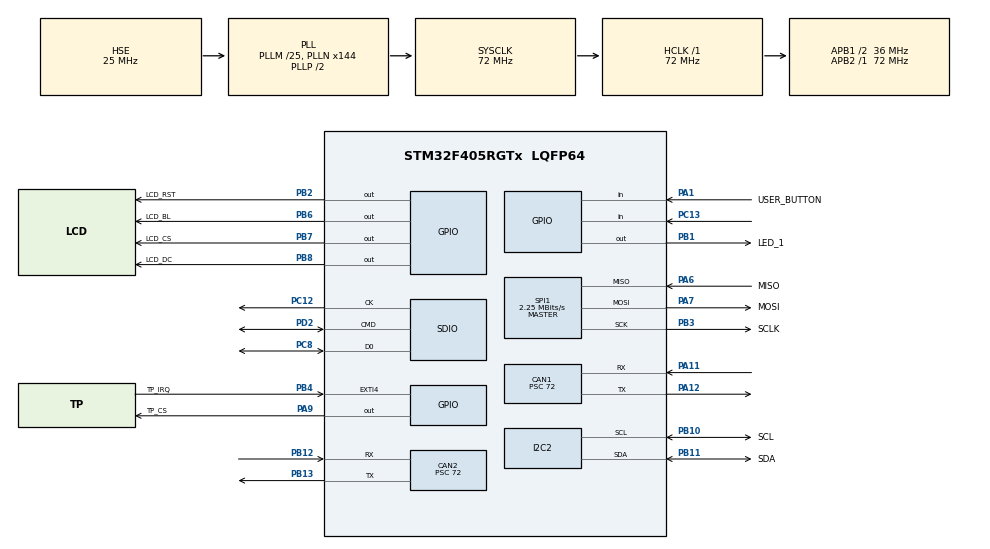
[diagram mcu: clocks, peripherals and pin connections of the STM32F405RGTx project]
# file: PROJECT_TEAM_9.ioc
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ADC1.Channel-0\#ChannelRegularConversion=ADC_CHANNEL_TEMPSENSOR
ADC1.NbrOfConversionFlag=1
ADC1.Rank-0\#ChannelRegularConversion=1
ADC1.SamplingTime-0\#ChannelRegularConversion=ADC_SAMPLETIME_3CYCLES
ADC1.master=1
CAN1.BS1=CAN_BS1_2TQ
CAN1.CalculateBaudRate=125000
CAN1.CalculateTimeBit=8000
CAN1.CalculateTimeQuantum=2000.0
CAN1.Prescaler=72
CAN2.BS1=CAN_BS1_2TQ
CAN2.CalculateBaudRate=125000
CAN2.CalculateTimeBit=8000
CAN2.CalculateTimeQuantum=2000.0
CAN2.Prescaler=72
FATFS.BSP.number=1
FATFS._USE_STRFUNC=1
FATFS0.BSP.STBoard=false
FATFS0.BSP.api=Unknown
FATFS0.BSP.instance=PC13-ANTI_TAMP
FATFS0.BSP.ip=GPIO
FATFS0.BSP.mode=Input
FATFS0.BSP.name=Detect_SDIO
FATFS0.BSP.solution=PC13-ANTI_TAMP
Mcu.Family=STM32F4
Mcu.Name=STM32F405RGTx
Mcu.Package=LQFP64
NVIC.CAN1_TX_IRQn=true\:0\:0\:false\:false\:true\:true\:true\:true
NVIC.CAN2_RX0_IRQn=true\:0\:0\:false\:false\:true\:true\:true\:true
NVIC.EXTI4_IRQn=true\:0\:0\:false\:false\:true\:true\:true\:true
NVIC.I2C2_EV_IRQn=true\:0\:0\:false\:false\:true\:true\:true\:true
NVIC.PriorityGroup=NVIC_PRIORITYGROUP_4
NVIC.SDIO_IRQn=true\:0\:0\:false\:false\:true\:true\:true\:true
PA1.GPIO_Label=USER_BUTTON
PA1.GPIO_PuPd=GPIO_PULLUP
PA1.Signal=GPIO_Input
PA11.Mode=CAN_Activate
PA11.Signal=CAN1_RX
PA12.Mode=CAN_Activate
PA12.Signal=CAN1_TX
PA13.Mode=Serial_Wire
PA13.Signal=SYS_JTMS-SWDIO
PA14.Mode=Serial_Wire
PA14.Signal=SYS_JTCK-SWCLK
PA6.GPIO_Label=MISO
PA6.Mode=Full_Duplex_Master
PA6.Signal=SPI1_MISO
PA7.GPIO_Label=MOSI
PA7.Mode=Full_Duplex_Master
PA7.Signal=SPI1_MOSI
PA9.GPIO_Label=TP_CS
PA9.Signal=GPIO_Output
PB1.GPIO_Label=LED_1
PB1.Signal=GPIO_Output
PB10.GPIO_Label=SCL
PB10.GPIO_Pu=GPIO_PULLUP
PB10.Mode=I2C
PB10.Signal=I2C2_SCL
PB11.GPIO_Label=SDA
PB11.Mode=I2C
PB11.Signal=I2C2_SDA
PB12.Mode=CAN_Activate
PB12.Signal=CAN2_RX
PB13.Mode=CAN_Activate
PB13.Signal=CAN2_TX
PB2.GPIO_Label=LCD_RST
PB2.Signal=GPIO_Output
PB3.GPIO_Label=SCLK
PB3.Mode=Full_Duplex_Master
PB3.Signal=SPI1_SCK
PB4.GPIO_Label=TP_IRQ
PB4.GPIO_PuPd=GPIO_PULLUP
PB4.Signal=GPXTI4
PB6.GPIO_Label=LCD_BL
PB6.Signal=GPIO_Output
PB7.GPIO_Label=LCD_CS
PB7.Signal=GPIO_Output
PB8.GPIO_Label=LCD_DC
PB8.Signal=GPIO_Output
PC10.Signal=SDIO_D2
PC11.Signal=SDIO_D3
PC12.Mode=SD_1_bit
PC12.Signal=SDIO_CK
PC13-ANTI_TAMP.Signal=GPIO_Input
PC14-OSC32_IN.Mode=LSE-External-Oscillator
PC14-OSC32_IN.Signal=RCC_OSC32_IN
PC15-OSC32_OUT.Mode=LSE-External-Oscillator
PC15-OSC32_OUT.Signal=RCC_OSC32_OUT
PC8.Mode=SD_1_bit
PC8.Signal=SDIO_D0
PC9.Signal=SDIO_D1
PD2.Mode=SD_1_bit
PD2.Signal=SDIO_CMD
PH0-OSC_IN.Mode=HSE-External-Oscillator
PH0-OSC_IN.Signal=RCC_OSC_IN
PH1-OSC_OUT.Mode=HSE-External-Oscillator
PH1-OSC_OUT.Signal=RCC_OSC_OUT
ProjectManager.HeapSize=0x200
ProjectManager.StackSize=0x400
ProjectManager.TargetToolchain=STM32CubeIDE
RCC.48MHZClocksFreq_Value=36000000
RCC.AHBFreq_Value=72000000
RCC.APB1CLKDivider=RCC_HCLK_DIV2
RCC.APB1Freq_Value=36000000
RCC.APB1TimFreq_Value=72000000
RCC.APB2Freq_Value=72000000
RCC.APB2TimFreq_Value=72000000
RCC.CortexFreq_Value=72000000
RCC.HCLKFreq_Value=72000000
RCC.HSE_VALUE=25000000
RCC.HSI_VALUE=16000000
RCC.PLLM=25
RCC.PLLN=144
RCC.PLLSourceVirtual=RCC_PLLSOURCE_HSE
RCC.SYSCLKFreq_VALUE=72000000
RCC.SYSCLKSource=RCC_SYSCLKSOURCE_PLLCLK
RCC.VCOOutputFreq_Value=144000000
SPI1.BaudRatePrescaler=SPI_BAUDRATEPRESCALER_32
SPI1.CalculateBaudRate=2.25 MBits/s
SPI1.Direction=SPI_DIRECTION_2LINES
SPI1.Mode=SPI_MODE_MASTER
SPI1.VirtualType=VM_MASTER
VP_ADC1_TempSens_Input.Mode=IN-TempSens
VP_FATFS_VS_SDIO.Mode=SDIO
VP_RTC_VS_RTC_Activate.Mode=RTC_Enabled
VP_RTC_VS_RTC_Calendar.Mode=RTC_Calendar
board=custom

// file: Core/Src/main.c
/* USER CODE BEGIN Header */
/**
 ******************************************************************************
 * @file           : main.c
 * @brief          : Main program body
 ******************************************************************************
 * @attention
 *
 * Copyright (c) 2025 STMicroelectronics.
 * All rights reserved.
 *
 * This software is licensed under terms that can be found in the LICENSE file
 * in the root directory of this software component.
 * If no LICENSE file comes with this software, it is provided AS-IS.
 *
 ******************************************************************************
 */
/* USER CODE END Header */
#include "main.h"
#include "fatfs.h"

/* USER CODE BEGIN Includes */
#include "manual_lcd.h" // Include the manual LCD driver
#include "manual_touch.h"
#include <stdio.h>
#include <stdbool.h>
#include <string.h> // Cho hàm strlen() và strcmp()
#include "stm32f4xx_hal.h"
#include "task2.h"
#include "sd_card_manager.h"
#include "rtc_utils.h"
/* USER CODE END Includes */

ADC_HandleTypeDef hadc1;

CAN_HandleTypeDef hcan1;
CAN_HandleTypeDef hcan2;

I2C_HandleTypeDef hi2c2;

RTC_HandleTypeDef hrtc;

SD_HandleTypeDef hsd;

SPI_HandleTypeDef hspi1;

/* USER CODE BEGIN PV */
uint8_t read_data[50], byte_read;
SD_HandleTypeDef hsd;
HAL_SD_CardInfoTypeDef SDCardInfo;

CAN_TxHeaderTypeDef TxHeader1;
CAN_RxHeaderTypeDef RxHeader2;

uint8_t TxData1[2]; // Sẽ chứa [số nhóm (1 byte)] + [nhiệt độ (1 bytes)]
uint8_t RxData2[2];

uint32_t TxMailbox1;

volatile uint8_t can2_received_temperature;
volatile uint8_t can2_received_group;
volatile uint8_t can2_received_data_flag = 0;
int current_task = -1;
GPIO_PinState current_button_state = GPIO_PIN_RESET;
// Global variables for touch interface
TaskBox_t task_boxes[4];
TaskBox_t back_button_box;
int num_tasks;
char info_text_buffer[50];

/* USER CODE END PV */

void SystemClock_Config(void);
static void MX_GPIO_Init(void);
static void MX_SPI1_Init(void);
static void MX_I2C2_Init(void);
static void MX_SDIO_SD_Init(void);
static void MX_ADC1_Init(void);
static void MX_CAN1_Init(void);
static void MX_CAN2_Init(void);
static void MX_RTC_Init(void);

int main(void)
{

  /* USER CODE BEGIN 1 */
  // Task Box Definitions
  uint16_t start_y_tasks_row1 = INFO_BOX_Y + INFO_BOX_H + INFO_TO_TASK_SPACING;
  uint16_t start_y_tasks_row2 = start_y_tasks_row1 + TASK_BOX_H + SPACING_BETWEEN_BOXES;

  // Initialize task boxes (now global)
  // task_boxes[0] = (TaskBox_t){MARGIN, start_y_tasks_row1, TASK_BOX_W_CALC, TASK_BOX_H, "Task 02-1"};
  // task_boxes[1] = (TaskBox_t){(uint16_t)(MARGIN + TASK_BOX_W_CALC + SPACING_BETWEEN_BOXES), start_y_tasks_row1, TASK_BOX_W_CALC, TASK_BOX_H, "Task 02-2"};
  // task_boxes[2] = (TaskBox_t){MARGIN, start_y_tasks_row2, TASK_BOX_W_CALC, TASK_BOX_H, "Task 02-3"};
  // task_boxes[3] = (TaskBox_t){(uint16_t)(MARGIN + TASK_BOX_W_CALC + SPACING_BETWEEN_BOXES), start_y_tasks_row2, TASK_BOX_W_CALC, TASK_BOX_H, "Task 02-4"};

  task_boxes[0] = (TaskBox_t){25, 80, 90, 60, "Task 02-1"};
  task_boxes[1] = (TaskBox_t){125, 80, 90, 60, "Task 02-2"};
  task_boxes[2] = (TaskBox_t){25, 150, 90, 60, "Task 02-3"};
  task_boxes[3] = (TaskBox_t){125, 150, 90, 60, "Task 02-4"};

  num_tasks = 4; // Set global count

  char current_task_text[20];

  // Define the Back Button Box (now global)
  // back_button_box = (TaskBox_t){
  //     (uint16_t)(MARGIN + TASK_BOX_W_CALC + SPACING_BETWEEN_BOXES),              // x: same margin as tasks
  //     (uint16_t)(start_y_tasks_row2 + TASK_BOX_H + TASK_TO_BACK_BUTTON_SPACING), // y: towards the bottom
  //     BACK_BUTTON_W,                                                             // w: span most of the width
  //     BACK_BUTTON_H,                                                             // h: defined height
  //     "Back"                                                                     // name (used for internal logic if needed, not displayed by default)
  // };

  back_button_box = (TaskBox_t){
      125,   // x: same margin as tasks
      230,   // y: towards the bottom
      75,    // w: span most of the width
      40,    // h: defined height
      "Back" // name (used for internal logic if needed, not displayed by default)
  };

  /* USER CODE END 1 */

  /* MCU Configuration--------------------------------------------------------*/

  /* Reset of all peripherals, Initializes the Flash interface and the Systick. */
  HAL_Init();

  /* Configure the system clock */
  SystemClock_Config();

  /* Initialize all configured peripherals */
  MX_GPIO_Init();
  MX_SPI1_Init();
  MX_I2C2_Init();
  MX_SDIO_SD_Init();
  MX_FATFS_Init();
  MX_ADC1_Init();
  MX_CAN1_Init();
  MX_CAN2_Init();
  MX_RTC_Init();
  /* USER CODE BEGIN 2 */

  // Cấu hình filter cho CAN2
  CAN_FilterTypeDef sFilterConfig2;
  sFilterConfig2.FilterBank = 14; // CAN2 sử dụng từ bank 14-27
  sFilterConfig2.FilterMode = CAN_FILTERMODE_IDMASK;
  sFilterConfig2.FilterScale = CAN_FILTERSCALE_32BIT;
  sFilterConfig2.FilterIdHigh = 0x0000;
  sFilterConfig2.FilterIdLow = 0x0000;
  sFilterConfig2.FilterMaskIdHigh = 0x0000;
  sFilterConfig2.FilterMaskIdLow = 0x0000;
  sFilterConfig2.FilterFIFOAssignment = CAN_RX_FIFO0;
  sFilterConfig2.FilterActivation = ENABLE;
  // Không cần đặt SlaveStartFilterBank ở đây

  if (HAL_CAN_ConfigFilter(&hcan2, &sFilterConfig2) != HAL_OK)
  {
    Error_Handler();
  }

  // Khởi động CAN1 và CAN2
  if (HAL_CAN_Start(&hcan1) != HAL_OK)
  {
    Error_Handler();
  }

  if (HAL_CAN_Start(&hcan2) != HAL_OK)
  {
    Error_Handler();
  }

  // Kích hoạt thông báo ngắt cho CAN2 RX FIFO0
  if (HAL_CAN_ActivateNotification(&hcan2, CAN_IT_RX_FIFO0_MSG_PENDING) != HAL_OK)
  {
    Error_Handler();
  }

  // Cấu hình thông điệp gửi từ CAN1
  TxHeader1.StdId = 0x124;
  TxHeader1.ExtId = 0x00;
  TxHeader1.RTR = CAN_RTR_DATA;
  TxHeader1.IDE = CAN_ID_STD;
  TxHeader1.DLC = 2;
  TxHeader1.TransmitGlobalTime = DISABLE;

  My_RTC_InitAndSet(&hrtc);

  Manual_LCD_Init();
  Manual_Touch_Init(&hspi1);
  Manual_LCD_DrawLayout(); // This function should draw the tasks and the back button
  SD_Init();

  /* USER CODE END 4 */
  /* USER CODE END 2 */
  char display_buffer[50];
  /* Infinite loop */
  /* USER CODE BEGIN WHILE */
  TemperatureLog_t log;
  int can2_received_temperature_int;
  while (1)
  {
    /* USER CODE END WHILE */
    /* USER CODE BEGIN 3 */
    if (current_task == 0)
    {
      Task2_LedBlink(GPIOB, GPIO_PIN_1, BLINK_SPEED_200_MS);
    }
    else if (current_task == 1)
    {
      char temp_display_str[50];
      uint8_t current_temp_c = (uint8_t)Read_Internal_Temperature();
      uint8_t temp_to_send = current_temp_c;
      TxData1[0] = GROUP_NUMBER;
      TxData1[1] = temp_to_send;
      HAL_CAN_AddTxMessage(&hcan1, &TxHeader1, TxData1, &TxMailbox1);
      while (!can2_received_data_flag)
      {
        HAL_Delay(10);
      }
      can2_received_data_flag = 0; // Reset the flag for the next message
      can2_received_temperature_int = (int)can2_received_temperature;

      sprintf(temp_display_str, "Group: %d, temp: %d *C", can2_received_group, can2_received_temperature_int);
      // sprintf(temp_display_str, "Group: %d, temp: %d *C", GROUP_NUMBER, temp_to_send);
      strcpy(info_text_buffer, temp_display_str);
      HAL_NVIC_DisableIRQ(EXTI4_IRQn);

      Manual_LCD_UpdateInfoText(info_text_buffer);
      __HAL_GPIO_EXTI_CLEAR_IT(TP_IRQ_Pin);
      HAL_NVIC_EnableIRQ(EXTI4_IRQn);
      HAL_Delay(500); // Delay to avoid flooding the CAN bus
    }
    else if (current_task == 2)
    {
      HAL_NVIC_DisableIRQ(EXTI4_IRQn);

      byte_read = SD_ReadTeamFile(read_data, sizeof(read_data));

      if (byte_read > 0)
      {
        // Đọc thành công, hiển thị nội dung
        sprintf(info_text_buffer, "SD content: %s", read_data);
        Manual_LCD_UpdateInfoText(info_text_buffer);
      }
      else
      {
        // Đọc thất bại
        sprintf(info_text_buffer, "Read error (%d)", byte_read);
        Manual_LCD_UpdateInfoText(info_text_buffer);

        // Thử khởi tạo lại SD trong trường hợp bị ngắt kết nối
        if (SD_Init())
        {
          sprintf(info_text_buffer, "SD reinitialized");
          Manual_LCD_UpdateInfoText(info_text_buffer);
          HAL_Delay(1000);

          // Thử đọc lại
          byte_read = SD_ReadTeamFile(read_data, sizeof(read_data));
          if (byte_read > 0)
          {
            sprintf(info_text_buffer, "Content: %s", read_data);
            Manual_LCD_UpdateInfoText(info_text_buffer);
          }
          else
          {
            sprintf(info_text_buffer, "Still error (%d)", byte_read);
            Manual_LCD_UpdateInfoText(info_text_buffer);
          }
        }
      }
      __HAL_GPIO_EXTI_CLEAR_IT(TP_IRQ_Pin);
      HAL_NVIC_EnableIRQ(EXTI4_IRQn);
      HAL_Delay(500); // Delay to avoid flooding the LCD
    }
    else if (current_task == 3)
    {
      HAL_NVIC_DisableIRQ(EXTI4_IRQn);

      // Task 02-4: Read temperature from FRAM
      uint8_t read_value = 0;
      // Đọc nhiệt độ từ FRAM
      GPIO_PinState prev_btn_state = current_button_state;

      CheckUserButtonAndSaveTemp(&current_button_state);
      if (current_button_state == GPIO_PIN_SET && prev_btn_state == GPIO_PIN_RESET)
      {
        // Nút vừa được nhấn xuống
        if (ReadTempLogFromFRAM(&hi2c2, USER_TEMP_ADDR, &log) == HAL_OK)
        {
          sprintf(info_text_buffer, "FRAM Read OK: %d", log.temperature);
        }
        else
        {
          sprintf(info_text_buffer, "FRAM Read ERROR");
        }
        Manual_LCD_UpdateInfoText(info_text_buffer);
      }
      __HAL_GPIO_EXTI_CLEAR_IT(TP_IRQ_Pin);
      HAL_NVIC_EnableIRQ(EXTI4_IRQn);
      HAL_Delay(10); // Delay to avoid flooding the LCD
    }
  }

  /* USER CODE END 3 */
}

void SystemClock_Config(void)
{
  RCC_OscInitTypeDef RCC_OscInitStruct = {0};
  RCC_ClkInitTypeDef RCC_ClkInitStruct = {0};

  /** Configure the main internal regulator output voltage
   */
  __HAL_RCC_PWR_CLK_ENABLE();
  __HAL_PWR_VOLTAGESCALING_CONFIG(PWR_REGULATOR_VOLTAGE_SCALE1);

  /** Initializes the RCC Oscillators according to the specified parameters
   * in the RCC_OscInitTypeDef structure.
   */
  RCC_OscInitStruct.OscillatorType = RCC_OSCILLATORTYPE_LSI | RCC_OSCILLATORTYPE_HSE;
  RCC_OscInitStruct.HSEState = RCC_HSE_ON;
  RCC_OscInitStruct.LSIState = RCC_LSI_ON;
  RCC_OscInitStruct.PLL.PLLState = RCC_PLL_ON;
  RCC_OscInitStruct.PLL.PLLSource = RCC_PLLSOURCE_HSE;
  RCC_OscInitStruct.PLL.PLLM = 25;
  RCC_OscInitStruct.PLL.PLLN = 144;
  RCC_OscInitStruct.PLL.PLLP = RCC_PLLP_DIV2;
  RCC_OscInitStruct.PLL.PLLQ = 4;
  if (HAL_RCC_OscConfig(&RCC_OscInitStruct) != HAL_OK)
  {
    Error_Handler();
  }

  /** Initializes the CPU, AHB and APB buses clocks
   */
  RCC_ClkInitStruct.ClockType = RCC_CLOCKTYPE_HCLK | RCC_CLOCKTYPE_SYSCLK | RCC_CLOCKTYPE_PCLK1 | RCC_CLOCKTYPE_PCLK2;
  RCC_ClkInitStruct.SYSCLKSource = RCC_SYSCLKSOURCE_PLLCLK;
  RCC_ClkInitStruct.AHBCLKDivider = RCC_SYSCLK_DIV1;
  RCC_ClkInitStruct.APB1CLKDivider = RCC_HCLK_DIV2;
  RCC_ClkInitStruct.APB2CLKDivider = RCC_HCLK_DIV1;

  if (HAL_RCC_ClockConfig(&RCC_ClkInitStruct, FLASH_LATENCY_2) != HAL_OK)
  {
    Error_Handler();
  }
}

static void MX_ADC1_Init(void)
{

  ADC_ChannelConfTypeDef sConfig = {0};

  /** Configure the global features of the ADC (Clock, Resolution, Data Alignment and number of conversion)
   */
  hadc1.Instance = ADC1;
  hadc1.Init.ClockPrescaler = ADC_CLOCK_SYNC_PCLK_DIV2;
  hadc1.Init.Resolution = ADC_RESOLUTION_12B;
  hadc1.Init.ScanConvMode = DISABLE;
  hadc1.Init.ContinuousConvMode = DISABLE;
  hadc1.Init.DiscontinuousConvMode = DISABLE;
  hadc1.Init.ExternalTrigConvEdge = ADC_EXTERNALTRIGCONVEDGE_NONE;
  hadc1.Init.ExternalTrigConv = ADC_SOFTWARE_START;
  hadc1.Init.DataAlign = ADC_DATAALIGN_RIGHT;
  hadc1.Init.NbrOfConversion = 1;
  hadc1.Init.DMAContinuousRequests = DISABLE;
  hadc1.Init.EOCSelection = ADC_EOC_SINGLE_CONV;
  if (HAL_ADC_Init(&hadc1) != HAL_OK)
  {
    Error_Handler();
  }

  /** Configure for the selected ADC regular channel its corresponding rank in the sequencer and its sample time.
   */
  sConfig.Channel = ADC_CHANNEL_TEMPSENSOR;
  sConfig.Rank = 1;
  sConfig.SamplingTime = ADC_SAMPLETIME_3CYCLES;
  if (HAL_ADC_ConfigChannel(&hadc1, &sConfig) != HAL_OK)
  {
    Error_Handler();
  }
}

static void MX_CAN1_Init(void)
{

  hcan1.Instance = CAN1;
  hcan1.Init.Prescaler = 72;
  hcan1.Init.Mode = CAN_MODE_NORMAL;
  hcan1.Init.SyncJumpWidth = CAN_SJW_1TQ;
  hcan1.Init.TimeSeg1 = CAN_BS1_2TQ;
  hcan1.Init.TimeSeg2 = CAN_BS2_1TQ;
  hcan1.Init.TimeTriggeredMode = DISABLE;
  hcan1.Init.AutoBusOff = DISABLE;
  hcan1.Init.AutoWakeUp = DISABLE;
  hcan1.Init.AutoRetransmission = DISABLE;
  hcan1.Init.ReceiveFifoLocked = DISABLE;
  hcan1.Init.TransmitFifoPriority = DISABLE;
  if (HAL_CAN_Init(&hcan1) != HAL_OK)
  {
    Error_Handler();
  }
}

static void MX_CAN2_Init(void)
{

  hcan2.Instance = CAN2;
  hcan2.Init.Prescaler = 72;
  hcan2.Init.Mode = CAN_MODE_NORMAL;
  hcan2.Init.SyncJumpWidth = CAN_SJW_1TQ;
  hcan2.Init.TimeSeg1 = CAN_BS1_2TQ;
  hcan2.Init.TimeSeg2 = CAN_BS2_1TQ;
  hcan2.Init.TimeTriggeredMode = DISABLE;
  hcan2.Init.AutoBusOff = DISABLE;
  hcan2.Init.AutoWakeUp = DISABLE;
  hcan2.Init.AutoRetransmission = DISABLE;
  hcan2.Init.ReceiveFifoLocked = DISABLE;
  hcan2.Init.TransmitFifoPriority = DISABLE;
  if (HAL_CAN_Init(&hcan2) != HAL_OK)
  {
    Error_Handler();
  }
  /* USER CODE BEGIN CAN2_Init 2 */
  HAL_NVIC_SetPriority(CAN2_RX0_IRQn, 0, 0);
  HAL_NVIC_EnableIRQ(CAN2_RX0_IRQn);
  /* USER CODE END CAN2_Init 2 */
}

static void MX_I2C2_Init(void)
{

  hi2c2.Instance = I2C2;
  hi2c2.Init.ClockSpeed = 100000;
  hi2c2.Init.DutyCycle = I2C_DUTYCYCLE_2;
  hi2c2.Init.OwnAddress1 = 0;
  hi2c2.Init.AddressingMode = I2C_ADDRESSINGMODE_7BIT;
  hi2c2.Init.DualAddressMode = I2C_DUALADDRESS_DISABLE;
  hi2c2.Init.OwnAddress2 = 0;
  hi2c2.Init.GeneralCallMode = I2C_GENERALCALL_DISABLE;
  hi2c2.Init.NoStretchMode = I2C_NOSTRETCH_DISABLE;
  if (HAL_I2C_Init(&hi2c2) != HAL_OK)
  {
    Error_Handler();
  }
}

static void MX_RTC_Init(void)
{

  RTC_TimeTypeDef sTime = {0};
  RTC_DateTypeDef sDate = {0};

  /** Initialize RTC Only
   */
  hrtc.Instance = RTC;
  hrtc.Init.HourFormat = RTC_HOURFORMAT_24;
  hrtc.Init.AsynchPrediv = 127;
  hrtc.Init.SynchPrediv = 255;
  hrtc.Init.OutPut = RTC_OUTPUT_DISABLE;
  hrtc.Init.OutPutPolarity = RTC_OUTPUT_POLARITY_HIGH;
  hrtc.Init.OutPutType = RTC_OUTPUT_TYPE_OPENDRAIN;
  if (HAL_RTC_Init(&hrtc) != HAL_OK)
  {
    Error_Handler();
  }

  /** Initialize RTC and set the Time and Date
   */
  sTime.Hours = 0x0;
  sTime.Minutes = 0x0;
  sTime.Seconds = 0x0;
  sTime.DayLightSaving = RTC_DAYLIGHTSAVING_NONE;
  sTime.StoreOperation = RTC_STOREOPERATION_RESET;
  if (HAL_RTC_SetTime(&hrtc, &sTime, RTC_FORMAT_BCD) != HAL_OK)
  {
    Error_Handler();
  }
  sDate.WeekDay = RTC_WEEKDAY_MONDAY;
  sDate.Month = RTC_MONTH_JANUARY;
  sDate.Date = 0x1;
  sDate.Year = 0x0;

  if (HAL_RTC_SetDate(&hrtc, &sDate, RTC_FORMAT_BCD) != HAL_OK)
  {
    Error_Handler();
  }
}

static void MX_SDIO_SD_Init(void)
{

  hsd.Instance = SDIO;
  hsd.Init.ClockEdge = SDIO_CLOCK_EDGE_RISING;
  hsd.Init.ClockBypass = SDIO_CLOCK_BYPASS_DISABLE;
  hsd.Init.ClockPowerSave = SDIO_CLOCK_POWER_SAVE_DISABLE;
  hsd.Init.BusWide = SDIO_BUS_WIDE_1B;
  hsd.Init.HardwareFlowControl = SDIO_HARDWARE_FLOW_CONTROL_DISABLE;
  hsd.Init.ClockDiv = 0;
}

static void MX_SPI1_Init(void)
{

  /* SPI1 parameter configuration*/
  hspi1.Instance = SPI1;
  hspi1.Init.Mode = SPI_MODE_MASTER;
  hspi1.Init.Direction = SPI_DIRECTION_2LINES;
  hspi1.Init.DataSize = SPI_DATASIZE_8BIT;
  hspi1.Init.CLKPolarity = SPI_POLARITY_LOW;
  hspi1.Init.CLKPhase = SPI_PHASE_1EDGE;
  hspi1.Init.NSS = SPI_NSS_SOFT;
  hspi1.Init.BaudRatePrescaler = SPI_BAUDRATEPRESCALER_32;
  hspi1.Init.FirstBit = SPI_FIRSTBIT_MSB;
  hspi1.Init.TIMode = SPI_TIMODE_DISABLE;
  hspi1.Init.CRCCalculation = SPI_CRCCALCULATION_DISABLE;
  hspi1.Init.CRCPolynomial = 10;
  if (HAL_SPI_Init(&hspi1) != HAL_OK)
  {
    Error_Handler();
  }
}

static void MX_GPIO_Init(void)
{
  GPIO_InitTypeDef GPIO_InitStruct = {0};

  /* GPIO Ports Clock Enable */
  __HAL_RCC_GPIOC_CLK_ENABLE();
  __HAL_RCC_GPIOH_CLK_ENABLE();
  __HAL_RCC_GPIOA_CLK_ENABLE();
  __HAL_RCC_GPIOB_CLK_ENABLE();
  __HAL_RCC_GPIOD_CLK_ENABLE();

  /*Configure GPIO pin Output Level */
  HAL_GPIO_WritePin(GPIOB, LED_1_Pin | LCD_RST_Pin | LCD_BL_Pin | LCD_CS_Pin | LCD_DC_Pin, GPIO_PIN_RESET);

  /*Configure GPIO pin Output Level */
  HAL_GPIO_WritePin(TP_CS_GPIO_Port, TP_CS_Pin, GPIO_PIN_RESET);

  /*Configure GPIO pin : PC13 */
  GPIO_InitStruct.Pin = GPIO_PIN_13;
  GPIO_InitStruct.Mode = GPIO_MODE_INPUT;
  GPIO_InitStruct.Pull = GPIO_PULLDOWN;
  HAL_GPIO_Init(GPIOC, &GPIO_InitStruct);

  /*Configure GPIO pin : USER_BUTTON_Pin */
  GPIO_InitStruct.Pin = USER_BUTTON_Pin;
  GPIO_InitStruct.Mode = GPIO_MODE_INPUT;
  GPIO_InitStruct.Pull = GPIO_PULLUP;
  HAL_GPIO_Init(USER_BUTTON_GPIO_Port, &GPIO_InitStruct);

  /*Configure GPIO pins : LED_1_Pin LCD_RST_Pin LCD_BL_Pin LCD_CS_Pin
                           LCD_DC_Pin */
  GPIO_InitStruct.Pin = LED_1_Pin | LCD_RST_Pin | LCD_BL_Pin | LCD_CS_Pin | LCD_DC_Pin;
  GPIO_InitStruct.Mode = GPIO_MODE_OUTPUT_PP;
  GPIO_InitStruct.Pull = GPIO_NOPULL;
  GPIO_InitStruct.Speed = GPIO_SPEED_FREQ_LOW;
  HAL_GPIO_Init(GPIOB, &GPIO_InitStruct);

  /*Configure GPIO pin : TP_CS_Pin */
  GPIO_InitStruct.Pin = TP_CS_Pin;
  GPIO_InitStruct.Mode = GPIO_MODE_OUTPUT_PP;
  GPIO_InitStruct.Pull = GPIO_NOPULL;
  GPIO_InitStruct.Speed = GPIO_SPEED_FREQ_LOW;
  HAL_GPIO_Init(TP_CS_GPIO_Port, &GPIO_InitStruct);

  /*Configure GPIO pin : TP_IRQ_Pin */
  GPIO_InitStruct.Pin = TP_IRQ_Pin;
  GPIO_InitStruct.Mode = GPIO_MODE_IT_RISING;
  GPIO_InitStruct.Pull = GPIO_PULLUP;
  HAL_GPIO_Init(TP_IRQ_GPIO_Port, &GPIO_InitStruct);

  /* EXTI interrupt init*/
  HAL_NVIC_SetPriority(EXTI4_IRQn, 0, 0);
  HAL_NVIC_EnableIRQ(EXTI4_IRQn);

}

/* USER CODE BEGIN 4 */
void HAL_GPIO_EXTI_Callback(uint16_t GPIO_Pin)
{
  if (GPIO_Pin == TP_IRQ_Pin)
  {
    if (HAL_GPIO_ReadPin(TP_IRQ_GPIO_Port, TP_IRQ_Pin) == GPIO_PIN_RESET)
    {
      Coordinate rawPoint, displayPoint;
      int old_task = current_task; // Lưu task cũ
      if (Manual_Touch_GetRawPoint(&rawPoint))
      {
        Manual_Touch_ApplyCalibration(&displayPoint, &rawPoint);

        // Kiểm tra xem có chạm vào task box nào không
        for (int i = 0; i < num_tasks; i++)
        {
          if (displayPoint.x >= task_boxes[i].x &&
              displayPoint.x < (task_boxes[i].x + task_boxes[i].w) &&
              displayPoint.y >= task_boxes[i].y &&
              displayPoint.y < (task_boxes[i].y + task_boxes[i].h))
          {
            current_task = i; // Đặt current_task thành index của task box

            // Khôi phục màu của task cũ nếu có
            if (old_task != i)
            {

              if (old_task >= 0 && old_task < num_tasks)
              {
                Manual_LCD_RefillTaskBox(task_boxes[old_task].name, COLOR_BLACK); // Khôi phục màu của task cũ
              }
              Manual_LCD_RefillTaskBox(task_boxes[i].name, COLOR_MAGENTA); // Đổi màu task box được chọn
            }

            if (i == 0)
            {
              sprintf(info_text_buffer, "Task 02-1: BLINK LED");
            }
            else if (i == 1)
            {
              sprintf(info_text_buffer, "Task 02-2: CAN");
            }
            else if (i == 2)
            {
              sprintf(info_text_buffer, "Task 02-3: SD CARD");
            }
            else if (i == 3)
            {
              sprintf(info_text_buffer, "Task 02-4: FRAM");
            }
            Manual_LCD_UpdateInfoText(info_text_buffer);

            return;
          }
        }

        // Kiểm tra xem có chạm vào nút Back không
        if (displayPoint.x >= back_button_box.x &&
            displayPoint.x < (back_button_box.x + back_button_box.w) &&
            displayPoint.y >= back_button_box.y &&
            displayPoint.y < (back_button_box.y + back_button_box.h))
        {
          current_task = -1; // Nút Back
          if (old_task >= 0 && old_task < num_tasks)
          {
            Manual_LCD_RefillTaskBox(task_boxes[old_task].name, COLOR_BLACK); // Khôi phục màu của task cũ
            sprintf(info_text_buffer, "Nhom %02d", GROUP_NUMBER);
            Manual_LCD_UpdateInfoText(info_text_buffer); // Cập nhật lại thông tin
          }
          return;
        }
      }
    }
  }
}

void HAL_CAN_RxFifo0MsgPendingCallback(CAN_HandleTypeDef *hcan)
{
  if (hcan->Instance == CAN2)
  {
    if (HAL_CAN_GetRxMessage(hcan, CAN_RX_FIFO0, &RxHeader2, RxData2) == HAL_OK)
    {
      // Giải mã dữ liệu nhận được (Tùy chọn, để debug)
      if (RxHeader2.DLC >= 2) // Đảm bảo có đủ dữ liệu
      {
        can2_received_group = RxData2[0];
        can2_received_temperature = RxData2[1];
        can2_received_data_flag = 1; // Đánh dấu đã nhận dữ liệu
      }
    }
  }
}

/* USER CODE END 4 */

void Error_Handler(void)
{
  __disable_irq();
  while (1)
  {
  }
}
